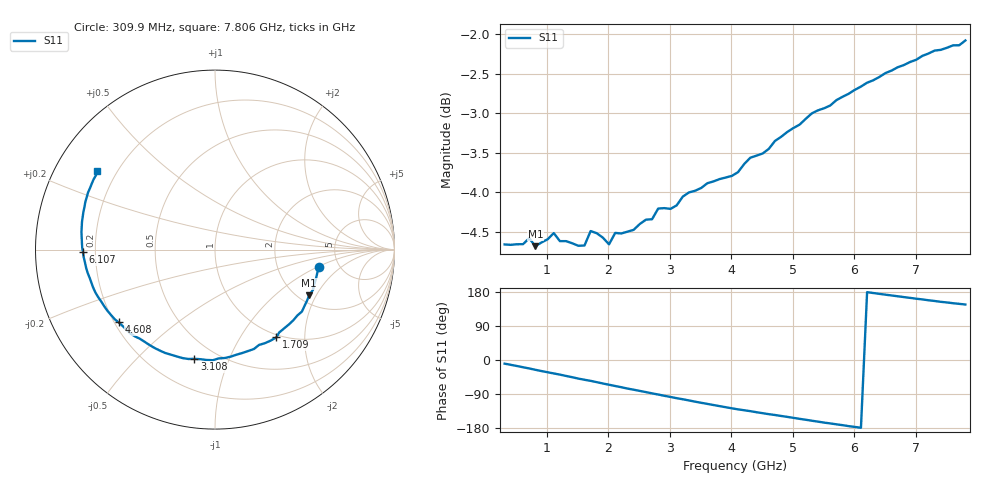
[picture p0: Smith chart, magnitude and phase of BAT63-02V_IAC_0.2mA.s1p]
! Infineon Technologies  Discrete & RF Semiconductors
! BAT63-02V
! IAC = 0.2 mA
! One-Port S-Parameters
# Hz  S  MA  R  50
!f  S11
!Hz  Mag  Ang
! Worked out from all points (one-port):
!   76 points, 309.9 MHz to 7.806 GHz, reference 50 ohm
!   lowest |S11| = -4.7 dB at 809.6 MHz (marker M1), VSWR 3.80, Z = 114 - j87.6 ohm
!   |S11| at or under -10 dB: nowhere
!   S11 on the Smith chart (normalised r, x): 309.9 MHz: 3.49, -1.04; 1.709 GHz: 0.96, -1.45; 3.108 GHz: 0.38, -0.75; 4.608 GHz: 0.22, -0.32; 6.107 GHz: 0.15, -0.01; 7.806 GHz: 0.13, +0.30
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3.0985e8  0.5849 -9.6
7.0965e8  0.5903 -22.3
8.096e8  0.5835 -25.8
1.10945e9  0.5947 -35.5
1.30935e9  0.5878 -42.1
1.6092e9  0.584 -52.2
1.70915e9  0.5965 -55.1
2.009e9  0.585 -65.3
2.10895e9  0.5948 -68.6
2.2089e9  0.5944 -71.8
2.50875e9  0.6026 -81.6
2.8086e9  0.6163 -91.1
3.10845e9  0.6191 -100.7
3.2084e9  0.6271 -103.6
3.6082e9  0.6394 -115.8
4.10795e9  0.6499 -130.2
4.30785e9  0.6636 -135.0
4.6077e9  0.6722 -142.9
4.70765e9  0.68 -145.1
5.0075e9  0.6929 -152.6
5.4073e9  0.711 -162.6
5.70715e9  0.7216 -169.7
6.007e9  0.7325 -176.6
6.10695e9  0.736 -178.9
6.50675e9  0.7506 172.4
6.90655e9  0.7628 163.9
7.4063e9  0.7764 153.5
7.8061e9  0.7871 146.4
